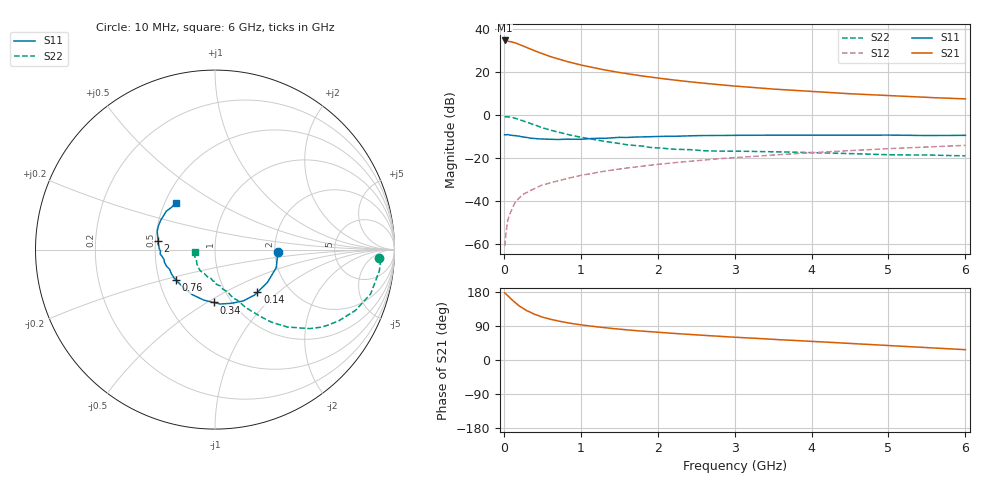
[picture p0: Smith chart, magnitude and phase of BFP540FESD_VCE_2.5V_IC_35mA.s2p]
! Infineon Technologies  Discrete & RF Semiconductors
! BFP540FESD
! VCE =  2.5 V,  IC =  35 mA
! Common Emitter S-Parameters:  Nov 2015
# GHz  S  MA  R  50
!  f  S11  S21  S12  S22
! GHz  MAG  ANG  MAG  ANG  MAG  ANG  MAG  ANG
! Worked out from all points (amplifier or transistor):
!   210 points, 10 MHz to 6 GHz, reference 50 ohm
!   highest |S21| = 34.8 dB at 10 MHz (marker M1)
!   |S21| within 3 dB of that: start of sweep to 279.3 MHz
!   unconditionally stable (mu >= 1): start of sweep to 17.2 MHz; 1.449 GHz to end of sweep
!   at 185 MHz: K = 0.40, MSG = 36.1 dB, |S12| = -39.0 dB
!   at 1.52 GHz: K = 1.01, MAG = 21.8 dB, |S12| = -24.9 dB
!   at 6 GHz: K = 1.16, MAG = 8.4 dB, |S12| = -14.0 dB
!   S11 on the Smith chart (normalised r, x): 10 MHz: 2.08, -0.07; 140 MHz: 1.39, -0.74; 340 MHz: 0.83, -0.53; 760 MHz: 0.61, -0.23; 2 GHz: 0.51, +0.05; 6 GHz: 0.57, +0.34
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0.01  0.3512 -2.4  54.97 177.2  0.0009 110.0  0.9132 -2.9
0.02  0.3506 -8.5  53.49 175.8  0.0012 110.2  0.9268 -1.9
0.05  0.3556 -16.5  53.13 169.8  0.0035 93.8  0.9232 -7.4
0.1  0.3446 -32.0  50.93 159.8  0.0062 83.6  0.9016 -15.9
0.14  0.3353 -45.3  48.65 152.8  0.0088 78.0  0.8614 -21.8
0.15  0.3359 -48.7  48.2 150.9  0.0095 77.1  0.8529 -23.4
0.2  0.3265 -61.0  44.46 142.7  0.012 75.6  0.7959 -29.9
0.24  0.3144 -70.8  41.59 137.4  0.014 74.4  0.7511 -34.4
0.3  0.3043 -84.7  37.59 129.9  0.016 70.9  0.686 -39.9
0.34  0.2947 -91.5  35.11 126.5  0.0175 70.1  0.647 -42.5
0.4  0.2885 -102.3  31.66 120.5  0.0198 69.2  0.5912 -46.9
0.5  0.2809 -116.8  27.06 113.2  0.0238 68.6  0.5111 -52.2
0.6  0.2767 -127.3  23.31 107.7  0.0267 68.0  0.4521 -55.7
0.76  0.2752 -141.8  19.12 100.8  0.0317 67.8  0.3824 -60.6
1.02  0.2776 -157.5  14.52 92.3  0.0405 67.4  0.3042 -66.7
1.42  0.2987 -173.2  10.48 82.9  0.0533 66.2  0.231 -77.2
2  0.3222 171.5  7.33 73.0  0.0719 63.5  0.175 -93.8
2.02  0.3223 171.3  7.26 72.8  0.0725 63.3  0.1737 -94.2
3.1  0.3419 156.5  4.633 59.1  0.1062 57.0  0.1455 -120.0
4.1  0.343 148.9  3.482 48.1  0.138 50.7  0.1337 -135.7
5.1  0.3437 140.7  2.811 37.1  0.1702 42.6  0.1199 -151.2
6  0.3411 129.9  2.402 27.2  0.1992 34.9  0.1136 -171.9
